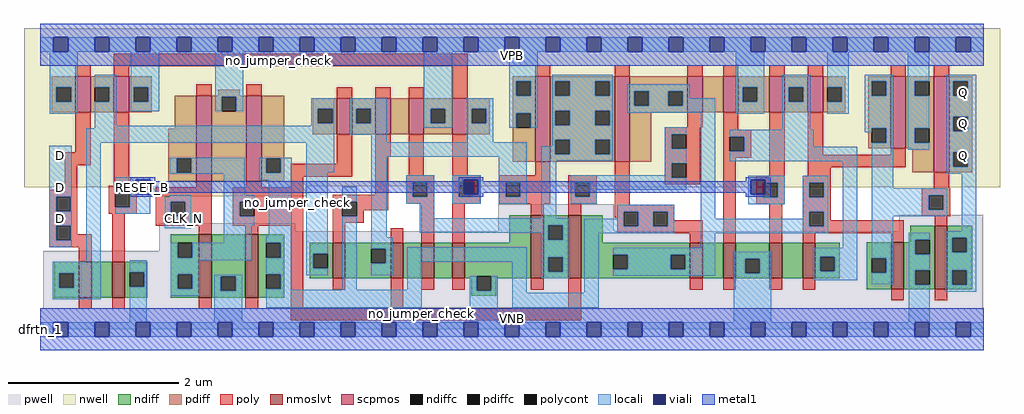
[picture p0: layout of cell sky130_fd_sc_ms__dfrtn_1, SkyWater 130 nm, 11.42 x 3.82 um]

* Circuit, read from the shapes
.subckt sky130_fd_sc_ms__dfrtn_1 CLK_N D RESET_B VGND VNB VPB VPWR Q
XM1 n1 D n2 VNB sky130_fd_pr__nfet_01v8_lvt w=0.42 l=0.15
XM2 VGND RESET_B n1 VNB sky130_fd_pr__nfet_01v8_lvt w=0.42 l=0.15
XM3 VGND CLK_N n3 VNB sky130_fd_pr__nfet_01v8_lvt w=0.74 l=0.15
XM4 n4 n3 VGND VNB sky130_fd_pr__nfet_01v8_lvt w=0.74 l=0.15
XM5 n5 n4 n2 VNB sky130_fd_pr__nfet_01v8_lvt w=0.42 l=0.15
XM6 n6 n3 n5 VNB sky130_fd_pr__nfet_01v8_lvt w=0.42 l=0.15
XM7 n7 n8 n6 VNB sky130_fd_pr__nfet_01v8_lvt w=0.42 l=0.15
XM8 VGND RESET_B n7 VNB sky130_fd_pr__nfet_01v8_lvt w=0.42 l=0.15
XM9 n8 n5 VGND VNB sky130_fd_pr__nfet_01v8_lvt w=0.74 l=0.15
XM10 n9 n3 n8 VNB sky130_fd_pr__nfet_01v8_lvt w=0.74 l=0.15
XM11 n10 n4 n9 VNB sky130_fd_pr__nfet_01v8_lvt w=0.42 l=0.15
XM12 VGND n11 n10 VNB sky130_fd_pr__nfet_01v8_lvt w=0.42 l=0.15
XM13 n12 RESET_B VGND VNB sky130_fd_pr__nfet_01v8_lvt w=0.42 l=0.15
XM14 n11 n9 n12 VNB sky130_fd_pr__nfet_01v8_lvt w=0.42 l=0.15
XM15 VGND n9 n13 VNB sky130_fd_pr__nfet_01v8_lvt w=0.55 l=0.15
XM16 Q n13 VGND VNB sky130_fd_pr__nfet_01v8_lvt w=0.74 l=0.15
XM17 n2 D VPWR VPB sky130_fd_pr__pfet_01v8 w=0.42 l=0.18
XM18 VPWR RESET_B n2 VPB sky130_fd_pr__pfet_01v8 w=0.42 l=0.18
XM19 VPWR CLK_N n3 VPB sky130_fd_pr__pfet_01v8 w=1 l=0.18
XM20 n4 n3 VPWR VPB sky130_fd_pr__pfet_01v8 w=1 l=0.18
XM21 n5 n3 n2 VPB sky130_fd_pr__pfet_01v8 w=0.42 l=0.18
XM22 n14 n4 n5 VPB sky130_fd_pr__pfet_01v8 w=0.42 l=0.18
XM23 VPWR n8 n14 VPB sky130_fd_pr__pfet_01v8 w=0.42 l=0.18
XM24 n5 RESET_B VPWR VPB sky130_fd_pr__pfet_01v8 w=0.42 l=0.18
XM25 n8 n5 VPWR VPB sky130_fd_pr__pfet_01v8 w=1 l=0.18
XM26 n9 n4 n8 VPB sky130_fd_pr__pfet_01v8 w=1 l=0.18
XM27 n15 n3 n9 VPB sky130_fd_pr__pfet_01v8 w=0.42 l=0.18
XM28 VPWR n11 n15 VPB sky130_fd_pr__pfet_01v8 w=0.42 l=0.18
XM29 n11 RESET_B VPWR VPB sky130_fd_pr__pfet_01v8 w=0.42 l=0.18
XM30 VPWR n9 n11 VPB sky130_fd_pr__pfet_01v8 w=0.42 l=0.18
XM31 VPWR n9 n13 VPB sky130_fd_pr__pfet_01v8 w=0.84 l=0.18
XM32 Q n13 VPWR VPB sky130_fd_pr__pfet_01v8 w=1.12 l=0.18
.ends

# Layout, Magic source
magic
tech sky130A
magscale 1 2
<< nwell >>
rect -38 335 2246 704
rect -38 332 622 335
rect 1384 332 2246 335
rect 258 311 622 332
<< pwell >>
rect 279 229 597 248
rect 1072 229 1342 293
rect 2010 230 2207 268
rect 1908 229 2207 230
rect 279 184 2207 229
rect 7 49 2207 184
rect 0 0 2208 49
<< scpmos >>
rect 82 508 118 592
rect 172 508 208 592
rect 365 347 401 547
rect 482 347 518 547
rect 694 457 730 541
rect 784 457 820 541
rect 862 457 898 541
rect 964 457 1000 541
rect 1158 392 1194 592
rect 1344 392 1380 592
rect 1514 508 1550 592
rect 1598 508 1634 592
rect 1706 508 1742 592
rect 1796 508 1832 592
rect 1990 424 2026 592
rect 2091 368 2127 592
<< nmoslvt >>
rect 90 74 120 158
rect 168 74 198 158
rect 371 74 401 222
rect 480 74 510 222
rect 684 119 714 203
rect 820 119 850 203
rect 892 119 922 203
rect 964 119 994 203
rect 1148 119 1178 267
rect 1236 119 1266 267
rect 1520 119 1550 203
rect 1598 119 1628 203
rect 1706 119 1736 203
rect 1784 119 1814 203
rect 1991 94 2021 204
rect 2093 94 2123 242
<< ndiff >>
rect 305 202 371 222
rect 305 168 322 202
rect 356 168 371 202
rect 33 131 90 158
rect 33 97 45 131
rect 79 97 90 131
rect 33 74 90 97
rect 120 74 168 158
rect 198 133 251 158
rect 198 99 209 133
rect 243 99 251 133
rect 198 74 251 99
rect 305 129 371 168
rect 305 95 322 129
rect 356 95 371 129
rect 305 74 371 95
rect 401 124 480 222
rect 401 90 423 124
rect 457 90 480 124
rect 401 74 480 90
rect 510 202 571 222
rect 510 168 529 202
rect 563 168 571 202
rect 510 129 571 168
rect 510 95 529 129
rect 563 95 571 129
rect 510 74 571 95
rect 1098 203 1148 267
rect 631 177 684 203
rect 631 143 639 177
rect 673 143 684 177
rect 631 119 684 143
rect 714 188 820 203
rect 714 154 775 188
rect 809 154 820 188
rect 714 119 820 154
rect 850 119 892 203
rect 922 119 964 203
rect 994 124 1148 203
rect 994 119 1021 124
rect 1009 90 1021 119
rect 1055 119 1148 124
rect 1178 244 1236 267
rect 1178 210 1189 244
rect 1223 210 1236 244
rect 1178 169 1236 210
rect 1178 135 1189 169
rect 1223 135 1236 169
rect 1178 119 1236 135
rect 1266 203 1316 267
rect 2036 210 2093 242
rect 2036 204 2048 210
rect 1266 175 1520 203
rect 1266 141 1341 175
rect 1375 141 1475 175
rect 1509 141 1520 175
rect 1266 119 1520 141
rect 1550 119 1598 203
rect 1628 165 1706 203
rect 1628 131 1650 165
rect 1684 131 1706 165
rect 1628 119 1706 131
rect 1736 119 1784 203
rect 1814 170 1871 203
rect 1814 136 1825 170
rect 1859 136 1871 170
rect 1814 119 1871 136
rect 1934 166 1991 204
rect 1934 132 1946 166
rect 1980 132 1991 166
rect 1055 90 1067 119
rect 1009 78 1067 90
rect 1934 94 1991 132
rect 2021 176 2048 204
rect 2082 176 2093 210
rect 2021 138 2093 176
rect 2021 104 2048 138
rect 2082 104 2093 138
rect 2021 94 2093 104
rect 2123 214 2181 242
rect 2123 180 2134 214
rect 2168 180 2181 214
rect 2123 138 2181 180
rect 2123 104 2134 138
rect 2168 104 2181 138
rect 2123 94 2181 104
<< pdiff >>
rect 27 567 82 592
rect 27 533 38 567
rect 72 533 82 567
rect 27 508 82 533
rect 118 567 172 592
rect 118 533 128 567
rect 162 533 172 567
rect 118 508 172 533
rect 208 567 261 592
rect 208 533 219 567
rect 253 533 261 567
rect 416 547 467 560
rect 208 508 261 533
rect 315 469 365 547
rect 300 400 365 469
rect 300 366 319 400
rect 353 366 365 400
rect 300 347 365 366
rect 401 544 482 547
rect 401 510 425 544
rect 459 510 482 544
rect 401 347 482 510
rect 518 400 571 547
rect 1106 580 1158 592
rect 1106 546 1114 580
rect 1148 546 1158 580
rect 638 516 694 541
rect 638 482 650 516
rect 684 482 694 516
rect 638 457 694 482
rect 730 516 784 541
rect 730 482 740 516
rect 774 482 784 516
rect 730 457 784 482
rect 820 457 862 541
rect 898 516 964 541
rect 898 482 914 516
rect 948 482 964 516
rect 898 457 964 482
rect 1000 516 1052 541
rect 1000 482 1010 516
rect 1044 482 1052 516
rect 1000 457 1052 482
rect 1106 506 1158 546
rect 1106 472 1114 506
rect 1148 472 1158 506
rect 518 366 529 400
rect 563 366 571 400
rect 518 347 571 366
rect 1106 392 1158 472
rect 1194 580 1344 592
rect 1194 546 1205 580
rect 1239 546 1299 580
rect 1333 546 1344 580
rect 1194 512 1344 546
rect 1194 478 1205 512
rect 1239 478 1299 512
rect 1333 478 1344 512
rect 1194 444 1344 478
rect 1194 410 1205 444
rect 1239 410 1299 444
rect 1333 410 1344 444
rect 1194 392 1344 410
rect 1380 557 1514 592
rect 1380 523 1390 557
rect 1424 523 1470 557
rect 1504 523 1514 557
rect 1380 508 1514 523
rect 1550 508 1598 592
rect 1634 567 1706 592
rect 1634 533 1644 567
rect 1678 533 1706 567
rect 1634 508 1706 533
rect 1742 567 1796 592
rect 1742 533 1752 567
rect 1786 533 1796 567
rect 1742 508 1796 533
rect 1832 567 1884 592
rect 1832 533 1842 567
rect 1876 533 1884 567
rect 1832 508 1884 533
rect 1938 580 1990 592
rect 1938 546 1946 580
rect 1980 546 1990 580
rect 1380 392 1430 508
rect 1938 471 1990 546
rect 1938 437 1946 471
rect 1980 437 1990 471
rect 1938 424 1990 437
rect 2026 580 2091 592
rect 2026 546 2046 580
rect 2080 546 2091 580
rect 2026 470 2091 546
rect 2026 436 2046 470
rect 2080 436 2091 470
rect 2026 424 2091 436
rect 2041 368 2091 424
rect 2127 580 2181 592
rect 2127 546 2137 580
rect 2171 546 2181 580
rect 2127 497 2181 546
rect 2127 463 2137 497
rect 2171 463 2181 497
rect 2127 414 2181 463
rect 2127 380 2137 414
rect 2171 380 2181 414
rect 2127 368 2181 380
<< ndiffc >>
rect 322 168 356 202
rect 45 97 79 131
rect 209 99 243 133
rect 322 95 356 129
rect 423 90 457 124
rect 529 168 563 202
rect 529 95 563 129
rect 639 143 673 177
rect 775 154 809 188
rect 1021 90 1055 124
rect 1189 210 1223 244
rect 1189 135 1223 169
rect 1341 141 1375 175
rect 1475 141 1509 175
rect 1650 131 1684 165
rect 1825 136 1859 170
rect 1946 132 1980 166
rect 2048 176 2082 210
rect 2048 104 2082 138
rect 2134 180 2168 214
rect 2134 104 2168 138
<< pdiffc >>
rect 38 533 72 567
rect 128 533 162 567
rect 219 533 253 567
rect 319 366 353 400
rect 425 510 459 544
rect 1114 546 1148 580
rect 650 482 684 516
rect 740 482 774 516
rect 914 482 948 516
rect 1010 482 1044 516
rect 1114 472 1148 506
rect 529 366 563 400
rect 1205 546 1239 580
rect 1299 546 1333 580
rect 1205 478 1239 512
rect 1299 478 1333 512
rect 1205 410 1239 444
rect 1299 410 1333 444
rect 1390 523 1424 557
rect 1470 523 1504 557
rect 1644 533 1678 567
rect 1752 533 1786 567
rect 1842 533 1876 567
rect 1946 546 1980 580
rect 1946 437 1980 471
rect 2046 546 2080 580
rect 2046 436 2080 470
rect 2137 546 2171 580
rect 2137 463 2171 497
rect 2137 380 2171 414
<< poly >>
rect 82 592 118 618
rect 172 615 1000 645
rect 172 592 208 615
rect 365 547 401 573
rect 482 547 518 573
rect 82 414 118 508
rect 57 384 118 414
rect 57 326 87 384
rect 172 336 208 508
rect 694 541 730 567
rect 784 541 820 567
rect 862 541 898 567
rect 964 541 1000 615
rect 1158 592 1194 618
rect 1344 592 1380 618
rect 1514 592 1550 618
rect 1598 592 1634 618
rect 1706 592 1742 618
rect 1796 592 1832 618
rect 1990 592 2026 618
rect 2091 592 2127 618
rect 694 387 730 457
rect 586 357 730 387
rect 784 404 820 457
rect 21 310 87 326
rect 21 276 37 310
rect 71 276 87 310
rect 21 242 87 276
rect 160 320 226 336
rect 365 332 401 347
rect 482 332 518 347
rect 586 332 616 357
rect 160 286 176 320
rect 210 286 226 320
rect 160 270 226 286
rect 270 299 401 332
rect 21 208 37 242
rect 71 222 87 242
rect 71 208 120 222
rect 21 192 120 208
rect 90 158 120 192
rect 168 158 198 270
rect 270 265 305 299
rect 339 265 401 299
rect 270 242 401 265
rect 451 299 616 332
rect 784 315 814 404
rect 862 360 898 457
rect 964 360 1000 457
rect 1514 473 1550 508
rect 1462 457 1544 473
rect 1462 423 1478 457
rect 1512 423 1544 457
rect 1158 360 1194 392
rect 451 265 467 299
rect 501 265 616 299
rect 451 242 616 265
rect 371 222 401 242
rect 480 222 510 242
rect 90 48 120 74
rect 168 48 198 74
rect 371 48 401 74
rect 480 48 510 74
rect 586 51 616 242
rect 684 299 814 315
rect 684 265 707 299
rect 741 279 814 299
rect 856 344 922 360
rect 856 310 872 344
rect 906 310 922 344
rect 856 294 922 310
rect 741 265 757 279
rect 684 249 757 265
rect 684 203 714 249
rect 820 203 850 237
rect 892 203 922 294
rect 964 344 1030 360
rect 964 310 980 344
rect 1014 310 1030 344
rect 964 294 1030 310
rect 1073 344 1194 360
rect 1073 310 1089 344
rect 1123 310 1194 344
rect 1073 294 1194 310
rect 1236 344 1302 360
rect 1236 310 1252 344
rect 1286 310 1302 344
rect 1236 294 1302 310
rect 964 203 994 294
rect 1148 267 1178 294
rect 1236 267 1266 294
rect 1344 291 1380 392
rect 1462 389 1544 423
rect 1462 355 1478 389
rect 1512 355 1544 389
rect 1462 339 1544 355
rect 1598 467 1634 508
rect 1598 451 1664 467
rect 1598 417 1614 451
rect 1648 417 1664 451
rect 1598 401 1664 417
rect 1344 275 1484 291
rect 684 93 714 119
rect 820 51 850 119
rect 892 93 922 119
rect 964 93 994 119
rect 1344 261 1366 275
rect 1350 241 1366 261
rect 1400 241 1434 275
rect 1468 255 1484 275
rect 1468 241 1550 255
rect 1350 225 1550 241
rect 1520 203 1550 225
rect 1598 203 1628 401
rect 1706 359 1742 508
rect 1796 409 1832 508
rect 1990 409 2026 424
rect 1796 379 2026 409
rect 1796 359 1850 379
rect 1676 343 1742 359
rect 1676 309 1692 343
rect 1726 309 1742 343
rect 1676 293 1742 309
rect 1784 343 1850 359
rect 1784 309 1800 343
rect 1834 309 1850 343
rect 2091 330 2127 368
rect 1706 203 1736 293
rect 1784 275 1850 309
rect 1784 241 1800 275
rect 1834 255 1850 275
rect 2063 314 2129 330
rect 2063 280 2079 314
rect 2113 280 2129 314
rect 2063 264 2129 280
rect 1834 241 2021 255
rect 2093 242 2123 264
rect 1784 225 2021 241
rect 1784 203 1814 225
rect 1991 204 2021 225
rect 1148 93 1178 119
rect 1236 51 1266 119
rect 1520 93 1550 119
rect 1598 93 1628 119
rect 1706 93 1736 119
rect 1784 93 1814 119
rect 1991 68 2021 94
rect 2093 68 2123 94
rect 586 21 1266 51
<< polycont >>
rect 37 276 71 310
rect 176 286 210 320
rect 37 208 71 242
rect 305 265 339 299
rect 1478 423 1512 457
rect 467 265 501 299
rect 707 265 741 299
rect 872 310 906 344
rect 980 310 1014 344
rect 1089 310 1123 344
rect 1252 310 1286 344
rect 1478 355 1512 389
rect 1614 417 1648 451
rect 1366 241 1400 275
rect 1434 241 1468 275
rect 1692 309 1726 343
rect 1800 309 1834 343
rect 1800 241 1834 275
rect 2079 280 2113 314
<< locali >>
rect 0 649 31 683
rect 65 649 127 683
rect 161 649 223 683
rect 257 649 319 683
rect 353 649 415 683
rect 449 649 511 683
rect 545 649 607 683
rect 641 649 703 683
rect 737 649 799 683
rect 833 649 895 683
rect 929 649 991 683
rect 1025 649 1087 683
rect 1121 649 1183 683
rect 1217 649 1279 683
rect 1313 649 1375 683
rect 1409 649 1471 683
rect 1505 649 1567 683
rect 1601 649 1663 683
rect 1697 649 1759 683
rect 1793 649 1855 683
rect 1889 649 1951 683
rect 1985 649 2047 683
rect 2081 649 2143 683
rect 2177 649 2208 683
rect 22 567 88 649
rect 22 533 38 567
rect 72 533 88 567
rect 22 504 88 533
rect 128 567 178 596
rect 162 533 178 567
rect 128 476 178 533
rect 212 567 278 649
rect 212 533 219 567
rect 253 533 278 567
rect 212 510 278 533
rect 409 544 475 649
rect 409 510 425 544
rect 459 510 475 544
rect 634 516 688 541
rect 634 482 650 516
rect 684 482 688 516
rect 634 476 688 482
rect 128 470 688 476
rect 108 436 688 470
rect 724 516 811 541
rect 724 482 740 516
rect 774 482 811 516
rect 724 455 811 482
rect 898 516 964 649
rect 1098 580 1164 649
rect 1098 546 1114 580
rect 1148 546 1164 580
rect 898 482 914 516
rect 948 482 964 516
rect 898 472 964 482
rect 998 516 1060 541
rect 998 482 1010 516
rect 1044 482 1060 516
rect 21 310 74 430
rect 21 276 37 310
rect 71 276 74 310
rect 21 242 74 276
rect 21 208 37 242
rect 71 208 74 242
rect 21 192 74 208
rect 108 158 142 436
rect 303 400 479 402
rect 303 366 319 400
rect 353 366 479 400
rect 303 364 479 366
rect 176 350 257 356
rect 176 320 223 350
rect 210 316 223 320
rect 210 286 257 316
rect 429 315 479 364
rect 513 400 588 402
rect 513 366 529 400
rect 563 366 588 400
rect 513 349 588 366
rect 303 310 353 315
rect 176 270 257 286
rect 291 299 353 310
rect 291 265 305 299
rect 339 265 353 299
rect 291 236 353 265
rect 429 299 501 315
rect 429 265 467 299
rect 429 244 501 265
rect 429 202 495 244
rect 535 218 588 349
rect 306 168 322 202
rect 356 168 495 202
rect 306 162 495 168
rect 529 202 588 218
rect 563 168 588 202
rect 29 131 142 158
rect 29 97 45 131
rect 79 97 142 131
rect 29 70 142 97
rect 209 133 249 162
rect 243 99 249 133
rect 209 17 249 99
rect 306 129 373 162
rect 306 95 322 129
rect 356 95 373 129
rect 529 129 588 168
rect 306 79 373 95
rect 407 124 473 128
rect 407 90 423 124
rect 457 90 473 124
rect 407 17 473 90
rect 563 95 588 129
rect 623 368 688 436
rect 775 438 811 455
rect 998 438 1060 482
rect 1098 506 1164 546
rect 1098 472 1114 506
rect 1148 472 1164 506
rect 1198 580 1340 596
rect 1198 546 1205 580
rect 1239 546 1299 580
rect 1333 546 1340 580
rect 1198 512 1340 546
rect 1198 478 1205 512
rect 1239 478 1299 512
rect 1333 478 1340 512
rect 1374 557 1520 573
rect 1374 523 1390 557
rect 1424 523 1470 557
rect 1504 541 1520 557
rect 1628 567 1694 649
rect 1504 523 1580 541
rect 1374 507 1580 523
rect 1198 444 1340 478
rect 775 404 1139 438
rect 1198 428 1205 444
rect 623 177 673 368
rect 623 143 639 177
rect 623 127 673 143
rect 707 299 741 334
rect 529 93 588 95
rect 707 93 741 265
rect 775 215 811 404
rect 856 344 922 360
rect 856 310 872 344
rect 906 310 922 344
rect 856 294 922 310
rect 964 350 1031 360
rect 964 344 991 350
rect 964 310 980 344
rect 1025 316 1031 350
rect 1014 310 1031 316
rect 964 294 1031 310
rect 1073 344 1139 404
rect 1073 310 1089 344
rect 1123 310 1139 344
rect 1073 294 1139 310
rect 1173 410 1205 428
rect 1239 410 1299 444
rect 1333 410 1340 444
rect 1173 394 1340 410
rect 1462 457 1512 473
rect 1462 423 1478 457
rect 888 260 922 294
rect 1173 260 1207 394
rect 1462 389 1512 423
rect 1462 360 1478 389
rect 1241 355 1478 360
rect 1241 344 1512 355
rect 1241 310 1252 344
rect 1286 326 1512 344
rect 1286 310 1302 326
rect 1241 294 1302 310
rect 1350 275 1484 291
rect 888 244 1239 260
rect 1350 259 1366 275
rect 888 226 1189 244
rect 775 188 825 215
rect 1173 210 1189 226
rect 1223 210 1239 244
rect 809 154 825 188
rect 775 127 825 154
rect 859 158 1139 192
rect 859 93 893 158
rect 529 51 893 93
rect 1005 90 1021 124
rect 1055 90 1071 124
rect 1005 17 1071 90
rect 1105 85 1139 158
rect 1173 169 1239 210
rect 1173 135 1189 169
rect 1223 135 1239 169
rect 1173 119 1239 135
rect 1273 241 1366 259
rect 1400 241 1434 275
rect 1468 241 1484 275
rect 1273 225 1484 241
rect 1546 259 1580 507
rect 1628 533 1644 567
rect 1678 533 1694 567
rect 1628 504 1694 533
rect 1736 567 1802 596
rect 1736 533 1752 567
rect 1786 533 1802 567
rect 1736 467 1802 533
rect 1842 567 1892 649
rect 1876 533 1892 567
rect 1842 504 1892 533
rect 1930 580 1996 596
rect 1930 546 1946 580
rect 1980 546 1996 580
rect 1930 471 1996 546
rect 1614 451 1810 467
rect 1930 461 1946 471
rect 1648 427 1810 451
rect 1980 437 1996 471
rect 1648 417 1912 427
rect 1614 393 1912 417
rect 1657 350 1742 359
rect 1657 316 1663 350
rect 1697 343 1742 350
rect 1657 309 1692 316
rect 1726 309 1742 343
rect 1657 293 1742 309
rect 1784 343 1844 359
rect 1784 309 1800 343
rect 1834 309 1844 343
rect 1784 275 1844 309
rect 1784 259 1800 275
rect 1546 241 1800 259
rect 1834 241 1844 275
rect 1546 225 1844 241
rect 1273 85 1307 225
rect 1546 191 1580 225
rect 1878 191 1912 393
rect 1341 175 1580 191
rect 1375 141 1475 175
rect 1509 141 1580 175
rect 1341 125 1580 141
rect 1623 165 1711 181
rect 1623 131 1650 165
rect 1684 131 1711 165
rect 1105 51 1307 85
rect 1623 17 1711 131
rect 1809 170 1912 191
rect 1809 136 1825 170
rect 1859 136 1912 170
rect 1809 115 1912 136
rect 1946 330 1996 437
rect 2030 580 2080 649
rect 2030 546 2046 580
rect 2030 470 2080 546
rect 2030 436 2046 470
rect 2030 420 2080 436
rect 2121 580 2191 596
rect 2121 546 2137 580
rect 2171 546 2191 580
rect 2121 497 2191 546
rect 2121 463 2137 497
rect 2171 463 2191 497
rect 2121 414 2191 463
rect 2121 380 2137 414
rect 2171 380 2191 414
rect 2121 364 2191 380
rect 1946 314 2123 330
rect 1946 280 2079 314
rect 2113 280 2123 314
rect 1946 264 2123 280
rect 1946 166 1996 264
rect 2157 230 2191 364
rect 1980 132 1996 166
rect 1946 106 1996 132
rect 2032 210 2082 226
rect 2032 176 2048 210
rect 2032 138 2082 176
rect 2032 104 2048 138
rect 2032 17 2082 104
rect 2118 214 2191 230
rect 2118 180 2134 214
rect 2168 180 2191 214
rect 2118 138 2191 180
rect 2118 104 2134 138
rect 2168 104 2191 138
rect 2118 88 2191 104
rect 0 -17 31 17
rect 65 -17 127 17
rect 161 -17 223 17
rect 257 -17 319 17
rect 353 -17 415 17
rect 449 -17 511 17
rect 545 -17 607 17
rect 641 -17 703 17
rect 737 -17 799 17
rect 833 -17 895 17
rect 929 -17 991 17
rect 1025 -17 1087 17
rect 1121 -17 1183 17
rect 1217 -17 1279 17
rect 1313 -17 1375 17
rect 1409 -17 1471 17
rect 1505 -17 1567 17
rect 1601 -17 1663 17
rect 1697 -17 1759 17
rect 1793 -17 1855 17
rect 1889 -17 1951 17
rect 1985 -17 2047 17
rect 2081 -17 2143 17
rect 2177 -17 2208 17
<< viali >>
rect 31 649 65 683
rect 127 649 161 683
rect 223 649 257 683
rect 319 649 353 683
rect 415 649 449 683
rect 511 649 545 683
rect 607 649 641 683
rect 703 649 737 683
rect 799 649 833 683
rect 895 649 929 683
rect 991 649 1025 683
rect 1087 649 1121 683
rect 1183 649 1217 683
rect 1279 649 1313 683
rect 1375 649 1409 683
rect 1471 649 1505 683
rect 1567 649 1601 683
rect 1663 649 1697 683
rect 1759 649 1793 683
rect 1855 649 1889 683
rect 1951 649 1985 683
rect 2047 649 2081 683
rect 2143 649 2177 683
rect 223 316 257 350
rect 991 344 1025 350
rect 991 316 1014 344
rect 1014 316 1025 344
rect 1663 343 1697 350
rect 1663 316 1692 343
rect 1692 316 1697 343
rect 31 -17 65 17
rect 127 -17 161 17
rect 223 -17 257 17
rect 319 -17 353 17
rect 415 -17 449 17
rect 511 -17 545 17
rect 607 -17 641 17
rect 703 -17 737 17
rect 799 -17 833 17
rect 895 -17 929 17
rect 991 -17 1025 17
rect 1087 -17 1121 17
rect 1183 -17 1217 17
rect 1279 -17 1313 17
rect 1375 -17 1409 17
rect 1471 -17 1505 17
rect 1567 -17 1601 17
rect 1663 -17 1697 17
rect 1759 -17 1793 17
rect 1855 -17 1889 17
rect 1951 -17 1985 17
rect 2047 -17 2081 17
rect 2143 -17 2177 17
<< metal1 >>
rect 0 683 2208 715
rect 0 649 31 683
rect 65 649 127 683
rect 161 649 223 683
rect 257 649 319 683
rect 353 649 415 683
rect 449 649 511 683
rect 545 649 607 683
rect 641 649 703 683
rect 737 649 799 683
rect 833 649 895 683
rect 929 649 991 683
rect 1025 649 1087 683
rect 1121 649 1183 683
rect 1217 649 1279 683
rect 1313 649 1375 683
rect 1409 649 1471 683
rect 1505 649 1567 683
rect 1601 649 1663 683
rect 1697 649 1759 683
rect 1793 649 1855 683
rect 1889 649 1951 683
rect 1985 649 2047 683
rect 2081 649 2143 683
rect 2177 649 2208 683
rect 0 617 2208 649
rect 211 350 269 356
rect 211 316 223 350
rect 257 347 269 350
rect 979 350 1037 356
rect 979 347 991 350
rect 257 319 991 347
rect 257 316 269 319
rect 211 310 269 316
rect 979 316 991 319
rect 1025 347 1037 350
rect 1651 350 1709 356
rect 1651 347 1663 350
rect 1025 319 1663 347
rect 1025 316 1037 319
rect 979 310 1037 316
rect 1651 316 1663 319
rect 1697 316 1709 350
rect 1651 310 1709 316
rect 0 17 2208 49
rect 0 -17 31 17
rect 65 -17 127 17
rect 161 -17 223 17
rect 257 -17 319 17
rect 353 -17 415 17
rect 449 -17 511 17
rect 545 -17 607 17
rect 641 -17 703 17
rect 737 -17 799 17
rect 833 -17 895 17
rect 929 -17 991 17
rect 1025 -17 1087 17
rect 1121 -17 1183 17
rect 1217 -17 1279 17
rect 1313 -17 1375 17
rect 1409 -17 1471 17
rect 1505 -17 1567 17
rect 1601 -17 1663 17
rect 1697 -17 1759 17
rect 1793 -17 1855 17
rect 1889 -17 1951 17
rect 1985 -17 2047 17
rect 2081 -17 2143 17
rect 2177 -17 2208 17
rect 0 -49 2208 -17
<< labels >>
flabel pwell s 0 0 2208 49 0 FreeSans 200 0 0 0 VNB
port 5 nsew ground bidirectional
flabel nwell s 0 617 2208 666 0 FreeSans 200 0 0 0 VPB
port 6 nsew power bidirectional
flabel comment s 892 36 892 36 0 FreeSans 300 0 0 0 no_jumper_check
flabel comment s 557 630 557 630 0 FreeSans 300 0 0 0 no_jumper_check
rlabel comment s 0 0 0 0 4 dfrtn_1
flabel comment s 602 297 602 297 0 FreeSans 200 0 0 0 no_jumper_check
flabel metal1 s 223 316 257 350 0 FreeSans 340 0 0 0 RESET_B
port 3 nsew signal input
flabel metal1 s 0 617 2208 666 0 FreeSans 340 0 0 0 VPWR
port 7 nsew power bidirectional
flabel metal1 s 0 0 2208 49 0 FreeSans 340 0 0 0 VGND
port 4 nsew ground bidirectional
flabel locali s 319 242 353 276 0 FreeSans 340 0 0 0 CLK_N
port 1 nsew clock input
flabel locali s 2143 390 2177 424 0 FreeSans 340 0 0 0 Q
port 8 nsew signal output
flabel locali s 2143 464 2177 498 0 FreeSans 340 0 0 0 Q
port 8 nsew signal output
flabel locali s 2143 538 2177 572 0 FreeSans 340 0 0 0 Q
port 8 nsew signal output
flabel locali s 31 242 65 276 0 FreeSans 340 0 0 0 D
port 2 nsew signal input
flabel locali s 31 316 65 350 0 FreeSans 340 0 0 0 D
port 2 nsew signal input
flabel locali s 31 390 65 424 0 FreeSans 340 0 0 0 D
port 2 nsew signal input
<< properties >>
string LEFsite unit
string LEFclass CORE
string FIXED_BBOX 0 0 2208 666
string GDS_FILE $PDKPATH/libs.ref/sky130_fd_sc_ms/gds/sky130_fd_sc_ms.gds
string LEFsymmetry X Y R90
string GDS_END 3332086
string GDS_START 3315210
<< end >>
